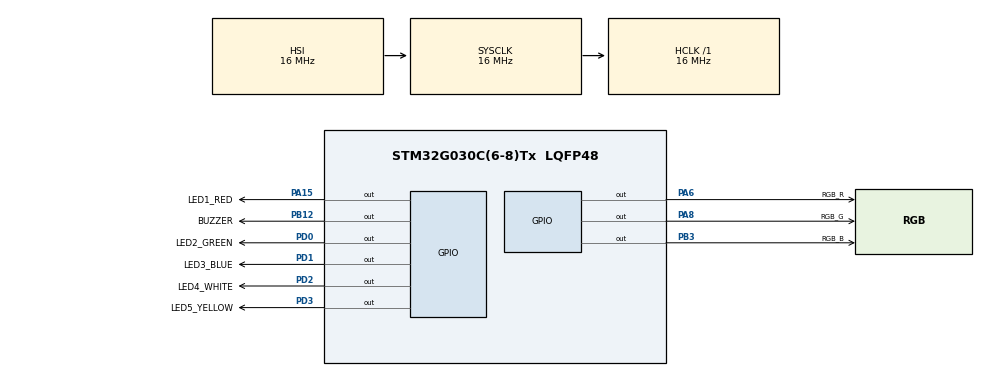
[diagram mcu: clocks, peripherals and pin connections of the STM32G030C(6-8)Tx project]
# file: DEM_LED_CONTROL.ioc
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Mcu.Family=STM32G0
Mcu.Name=STM32G030C(6-8)Tx
Mcu.Package=LQFP48
PA13.Mode=Serial_Wire
PA13.Signal=SYS_SWDIO
PA14-BOOT0.Mode=Serial_Wire
PA14-BOOT0.Signal=SYS_SWCLK
PA15.GPIO_Label=LED1_RED
PA15.Signal=GPIO_Output
PA6.GPIO_Label=RGB_R
PA6.Signal=GPIO_Output
PA8.GPIO_Label=RGB_G
PA8.Signal=GPIO_Output
PB12.GPIO_Label=BUZZER
PB12.Signal=GPIO_Output
PB3.GPIO_Label=RGB_B
PB3.Signal=GPIO_Output
PC14-OSC32_IN\ (PC14).Mode=LSE-External-Oscillator
PC14-OSC32_IN\ (PC14).Signal=RCC_OSC32_IN
PC15-OSC32_OUT\ (PC15).Mode=LSE-External-Oscillator
PC15-OSC32_OUT\ (PC15).Signal=RCC_OSC32_OUT
PD0.GPIO_Label=LED2_GREEN
PD0.Signal=GPIO_Output
PD1.GPIO_Label=LED3_BLUE
PD1.Signal=GPIO_Output
PD2.GPIO_Label=LED4_WHITE
PD2.Signal=GPIO_Output
PD3.GPIO_Label=LED5_YELLOW
PD3.Signal=GPIO_Output
ProjectManager.HeapSize=0x200
ProjectManager.StackSize=0x400
ProjectManager.TargetToolchain=STM32CubeIDE
RCC.AHBFreq_Value=16000000
RCC.CortexFreq_Value=16000000
RCC.EXTERNAL_CLOCK_VALUE=12288000
RCC.HCLKFreq_Value=16000000
RCC.HSE_VALUE=8000000
RCC.HSI_VALUE=16000000
RCC.SYSCLKFreq_VALUE=16000000
RCC.VCOOutputFreq_Value=128000000
VP_RTC_VS_RTC_Activate.Mode=RTC_Enabled
board=custom

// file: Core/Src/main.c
/* USER CODE BEGIN Header */
/**
  ******************************************************************************
  * @file           : main.c
  * @brief          : Main program body
  ******************************************************************************
  * @attention
  *
  * Copyright (c) 2025 STMicroelectronics.
  * All rights reserved.
  *
  * This software is licensed under terms that can be found in the LICENSE file
  * in the root directory of this software component.
  * If no LICENSE file comes with this software, it is provided AS-IS.
  *
  ******************************************************************************
  */
/* USER CODE END Header */
#include "main.h"
#include "DigitalInputOutputs.h"

/* USER CODE BEGIN PTD */
uint8_t counter = 0;
uint8_t rgbcounter = 0;
/* USER CODE END PTD */

RTC_HandleTypeDef hrtc;
SystemClockTimer_t SysClkTim;  // Gerçek tanımlama burada!
/* USER CODE BEGIN PV */
volatile uint64_t SYSTickTimer = 0;
/* USER CODE END PV */

void SystemClock_Config(void);
static void MX_GPIO_Init(void);
static void MX_RTC_Init(void);

int main(void)
{

  /* MCU Configuration--------------------------------------------------------*/

  /* Reset of all peripherals, Initializes the Flash interface and the Systick. */
  HAL_Init();

  /* Configure the system clock */
  SystemClock_Config();

  /* Initialize all configured peripherals */
  MX_GPIO_Init();
  MX_RTC_Init();
  /* USER CODE BEGIN 2 */
  RGB_LED_Control(Active, Passive, Passive);
  LED_Control(Active, Passive, Passive, Passive, Passive);
  Buzzer_Control(Active);
  HAL_Delay(500);
  RGB_LED_Control(Passive, Active, Passive);
  LED_Control(Active, Active, Passive, Passive, Passive);
  Buzzer_Control(Passive);
  HAL_Delay(500);
  RGB_LED_Control(Passive, Passive, Active);
  LED_Control(Active, Active, Active, Passive, Passive);
  Buzzer_Control(Active);
  HAL_Delay(500);
  RGB_LED_Control(Active, Active, Active);
  LED_Control(Active, Active, Active, Active, Passive);
  Buzzer_Control(Passive);
  HAL_Delay(500);
  LED_Control(Active, Active, Active, Active, Active);
  /* USER CODE END 2 */

  /* Infinite loop */
  /* USER CODE BEGIN WHILE */
  while (1)
  {
	  if (SysClkTim._1000sn == 1) {
	  HAL_GPIO_TogglePin(LED1_RED_GPIO_Port, LED1_RED_Pin);
	  SysClkTim._1000sn = 0;
	  }
	  if (SysClkTim._50msn == 1) {
	  HAL_GPIO_TogglePin(LED2_GREEN_GPIO_Port, LED2_GREEN_Pin);
	  SysClkTim._50msn = 0;
	  }
	  if (SysClkTim._100msn == 1) {
	  HAL_GPIO_TogglePin(LED3_BLUE_GPIO_Port, LED3_BLUE_Pin);
	  SysClkTim._100msn = 0;
	  }
	  if (SysClkTim._250msn == 1) {
	  HAL_GPIO_TogglePin(LED4_WHITE_GPIO_Port, LED4_WHITE_Pin);
	  SysClkTim._250msn = 0;
	  }
	  if (SysClkTim._500msn == 1) {
	  counter++;
	  if (counter % 2 == 1)
	  HAL_GPIO_WritePin(LED5_YELLOW_GPIO_Port, LED5_YELLOW_Pin, 1);
	  else
	  HAL_GPIO_WritePin(LED5_YELLOW_GPIO_Port, LED5_YELLOW_Pin, 0);

	  if (counter > 2) {
	  counter = 0;
	  }

	  SysClkTim._500msn = 0;
	  }
	  if (SysClkTim._2000sn == 1) {
	  rgbcounter++;
	  switch (rgbcounter) {
	  case 0:
	  HAL_GPIO_WritePin(RGB_R_GPIO_Port, RGB_R_Pin, 1);
	  HAL_GPIO_WritePin(RGB_G_GPIO_Port, RGB_G_Pin, 0);
	  HAL_GPIO_WritePin(RGB_B_GPIO_Port, RGB_B_Pin, 0);
	  break;
	  case 1:
	  HAL_GPIO_WritePin(RGB_R_GPIO_Port, RGB_R_Pin, 0);
	  HAL_GPIO_WritePin(RGB_G_GPIO_Port, RGB_G_Pin, 1);
	  HAL_GPIO_WritePin(RGB_B_GPIO_Port, RGB_B_Pin, 0);
	  break;
	  case 2:
	  HAL_GPIO_WritePin(RGB_R_GPIO_Port, RGB_R_Pin, 0);
	  HAL_GPIO_WritePin(RGB_G_GPIO_Port, RGB_G_Pin, 0);
	  HAL_GPIO_WritePin(RGB_B_GPIO_Port, RGB_B_Pin, 1);
	  break;
	  case 3:
	  HAL_GPIO_WritePin(RGB_R_GPIO_Port, RGB_R_Pin, 1);
	  HAL_GPIO_WritePin(RGB_G_GPIO_Port, RGB_G_Pin, 1);
	  HAL_GPIO_WritePin(RGB_B_GPIO_Port, RGB_B_Pin, 1);
	  break;
	  case 4:
	  HAL_GPIO_WritePin(RGB_R_GPIO_Port, RGB_R_Pin, 0);
	  HAL_GPIO_WritePin(RGB_G_GPIO_Port, RGB_G_Pin, 0);
	  HAL_GPIO_WritePin(RGB_B_GPIO_Port, RGB_B_Pin, 0);
	  break;
	  }
	  if (rgbcounter > 4) {
	  rgbcounter = 0;
	  }

	  SysClkTim._2000sn = 0;
	  }
    /* USER CODE END WHILE */

  }
}

void SystemClock_Config(void)
{
  RCC_OscInitTypeDef RCC_OscInitStruct = {0};
  RCC_ClkInitTypeDef RCC_ClkInitStruct = {0};

  /** Configure the main internal regulator output voltage
  */
  HAL_PWREx_ControlVoltageScaling(PWR_REGULATOR_VOLTAGE_SCALE1);

  /** Initializes the RCC Oscillators according to the specified parameters
  * in the RCC_OscInitTypeDef structure.
  */
  RCC_OscInitStruct.OscillatorType = RCC_OSCILLATORTYPE_HSI|RCC_OSCILLATORTYPE_LSI;
  RCC_OscInitStruct.HSIState = RCC_HSI_ON;
  RCC_OscInitStruct.HSIDiv = RCC_HSI_DIV1;
  RCC_OscInitStruct.HSICalibrationValue = RCC_HSICALIBRATION_DEFAULT;
  RCC_OscInitStruct.LSIState = RCC_LSI_ON;
  RCC_OscInitStruct.PLL.PLLState = RCC_PLL_NONE;
  if (HAL_RCC_OscConfig(&RCC_OscInitStruct) != HAL_OK)
  {
    Error_Handler();
  }

  /** Initializes the CPU, AHB and APB buses clocks
  */
  RCC_ClkInitStruct.ClockType = RCC_CLOCKTYPE_HCLK|RCC_CLOCKTYPE_SYSCLK
                              |RCC_CLOCKTYPE_PCLK1;
  RCC_ClkInitStruct.SYSCLKSource = RCC_SYSCLKSOURCE_HSI;
  RCC_ClkInitStruct.AHBCLKDivider = RCC_SYSCLK_DIV1;
  RCC_ClkInitStruct.APB1CLKDivider = RCC_HCLK_DIV1;

  if (HAL_RCC_ClockConfig(&RCC_ClkInitStruct, FLASH_LATENCY_0) != HAL_OK)
  {
    Error_Handler();
  }
}

static void MX_RTC_Init(void)
{

  /** Initialize RTC Only
  */
  hrtc.Instance = RTC;
  hrtc.Init.HourFormat = RTC_HOURFORMAT_24;
  hrtc.Init.AsynchPrediv = 127;
  hrtc.Init.SynchPrediv = 255;
  hrtc.Init.OutPut = RTC_OUTPUT_DISABLE;
  hrtc.Init.OutPutRemap = RTC_OUTPUT_REMAP_NONE;
  hrtc.Init.OutPutPolarity = RTC_OUTPUT_POLARITY_HIGH;
  hrtc.Init.OutPutType = RTC_OUTPUT_TYPE_OPENDRAIN;
  hrtc.Init.OutPutPullUp = RTC_OUTPUT_PULLUP_NONE;
  if (HAL_RTC_Init(&hrtc) != HAL_OK)
  {
    Error_Handler();
  }

}

static void MX_GPIO_Init(void)
{
  GPIO_InitTypeDef GPIO_InitStruct = {0};

  /* GPIO Ports Clock Enable */
  __HAL_RCC_GPIOC_CLK_ENABLE();
  __HAL_RCC_GPIOA_CLK_ENABLE();
  __HAL_RCC_GPIOB_CLK_ENABLE();
  __HAL_RCC_GPIOD_CLK_ENABLE();

  /*Configure GPIO pin Output Level */
  HAL_GPIO_WritePin(GPIOA, RGB_R_Pin|RGB_G_Pin|LED1_RED_Pin, GPIO_PIN_RESET);

  /*Configure GPIO pin Output Level */
  HAL_GPIO_WritePin(GPIOB, BUZZER_Pin|RGB_B_Pin, GPIO_PIN_RESET);

  /*Configure GPIO pin Output Level */
  HAL_GPIO_WritePin(GPIOD, LED2_GREEN_Pin|LED3_BLUE_Pin|LED4_WHITE_Pin|LED5_YELLOW_Pin, GPIO_PIN_RESET);

  /*Configure GPIO pins : RGB_R_Pin RGB_G_Pin LED1_RED_Pin */
  GPIO_InitStruct.Pin = RGB_R_Pin|RGB_G_Pin|LED1_RED_Pin;
  GPIO_InitStruct.Mode = GPIO_MODE_OUTPUT_PP;
  GPIO_InitStruct.Pull = GPIO_NOPULL;
  GPIO_InitStruct.Speed = GPIO_SPEED_FREQ_LOW;
  HAL_GPIO_Init(GPIOA, &GPIO_InitStruct);

  /*Configure GPIO pins : BUZZER_Pin RGB_B_Pin */
  GPIO_InitStruct.Pin = BUZZER_Pin|RGB_B_Pin;
  GPIO_InitStruct.Mode = GPIO_MODE_OUTPUT_PP;
  GPIO_InitStruct.Pull = GPIO_NOPULL;
  GPIO_InitStruct.Speed = GPIO_SPEED_FREQ_LOW;
  HAL_GPIO_Init(GPIOB, &GPIO_InitStruct);

  /*Configure GPIO pins : LED2_GREEN_Pin LED3_BLUE_Pin LED4_WHITE_Pin LED5_YELLOW_Pin */
  GPIO_InitStruct.Pin = LED2_GREEN_Pin|LED3_BLUE_Pin|LED4_WHITE_Pin|LED5_YELLOW_Pin;
  GPIO_InitStruct.Mode = GPIO_MODE_OUTPUT_PP;
  GPIO_InitStruct.Pull = GPIO_NOPULL;
  GPIO_InitStruct.Speed = GPIO_SPEED_FREQ_LOW;
  HAL_GPIO_Init(GPIOD, &GPIO_InitStruct);

}

/* USER CODE BEGIN 4 */
void HAL_SYSTICK_Callback(void) {
SYSTickTimer++;

if (SYSTickTimer % 1 == 0) {
SysClkTim._1msn = 1;
}
if (SYSTickTimer % 10 == 0) {
SysClkTim._10msn = 1;
}
if (SYSTickTimer % 50 == 0) {
SysClkTim._50msn = 1;
}
if (SYSTickTimer % 100 == 0) {
SysClkTim._100msn = 1;
}
if (SYSTickTimer % 250 == 0) {
SysClkTim._250msn = 1;
}
if (SYSTickTimer % 500 == 0) {
SysClkTim._500msn = 1;
}
if (SYSTickTimer % 1000 == 0) {
SysClkTim._1000sn = 1;
}
if (SYSTickTimer % 2000 == 0) {
SysClkTim._2000sn = 1;
}
if (SYSTickTimer % 5000 == 0) {
SysClkTim._5000sn = 1;
}
}
/* USER CODE END 4 */

void Error_Handler(void)
{
  __disable_irq();
  while (1)
  {
  }
}
